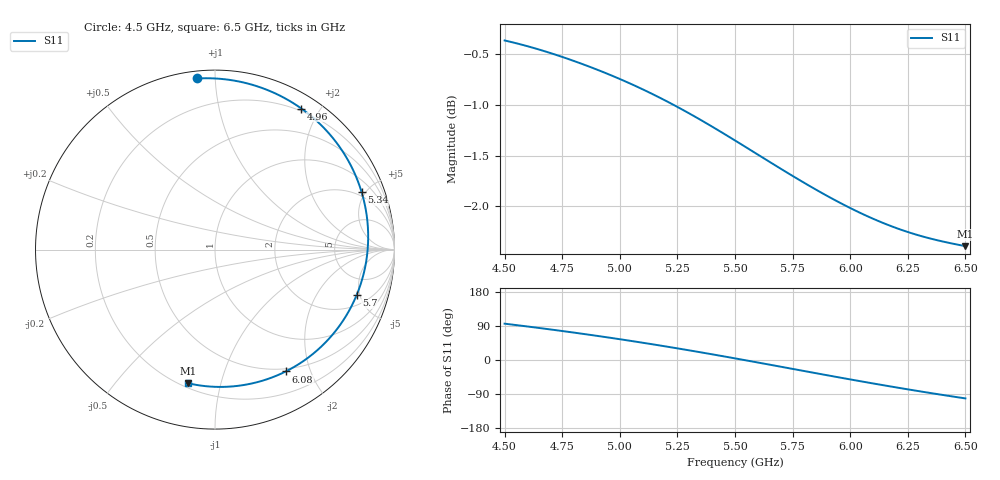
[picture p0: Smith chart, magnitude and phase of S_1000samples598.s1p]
! TOUCHSTONE file generated by CST MICROWAVE STUDIO
! Date and time: Fri Oct 28 17:39:23 2022
! Project name: L.cst
! Parameters = {Di=1.27; Epsilon_r=1.56; InnerDiameter=1.27; Length=2; Lf=10; Lg=60; OuterConductorThickness=0.2921; OuterDiameter=3.6; Wf=3; Wp=41.2; de=1.5; df=6.8; g=0.8; gx=4.78904; gy=3.79033; h=2.34; hf=1.524; px=12.3964; py=8.9228; w=9.7; wx=7.60735; wy=5.13246}
! Header version: 2018
! Port assignment regex: !\s*Touchstone port\s*([0-9]+)\s*=\s*(CST MWS port|CST DS port)\s*([0-9]+|Zmin|Zmax)\s*\(\"(.*)\"\)(\s*mode\s*([0-9]+))?.*
! Touchstone port assignment:
! Touchstone port 1 = CST MWS port 1 ("")
# GHz S DB R 50
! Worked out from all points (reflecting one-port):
!   101 points, 4.5 GHz to 6.5 GHz, reference 50 ohm
!   lowest |S11| = -2.4 dB at 6.5 GHz (marker M1), VSWR 7.31, Z = 11.3 - j39.7 ohm
!   phase of S11 starts at 96 deg and turns -197 deg over the sweep
!   S11 on the Smith chart (normalised r, x): 4.5 GHz: 0.04, +0.90; 4.96 GHz: 0.17, +1.77; 5.34 GHz: 1.69, +4.70; 5.7 GHz: 2.86, -4.65; 6.08 GHz: 0.46, -1.64; 6.5 GHz: 0.23, -0.79
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4.5  -0.37 95.9
4.58  -0.41 89.9
4.64  -0.45 85.3
4.76  -0.54 75.7
4.86  -0.62 67.3
4.96  -0.71 58.5
5  -0.75 54.9
5.06  -0.81 49.3
5.12  -0.87 43.6
5.2  -0.96 35.7
5.26  -1.03 29.7
5.34  -1.14 21.4
5.42  -1.24 13.0
5.5  -1.35 4.3
5.54  -1.41 -0.1
5.6  -1.49 -6.7
5.7  -1.63 -17.9
5.76  -1.71 -24.6
5.82  -1.79 -31.3
5.88  -1.87 -38.0
5.94  -1.95 -44.6
6  -2.02 -51.2
6.08  -2.10 -59.8
6.16  -2.18 -68.2
6.26  -2.26 -78.4
6.32  -2.30 -84.4
6.38  -2.33 -90.2
6.5  -2.39 -101.4
